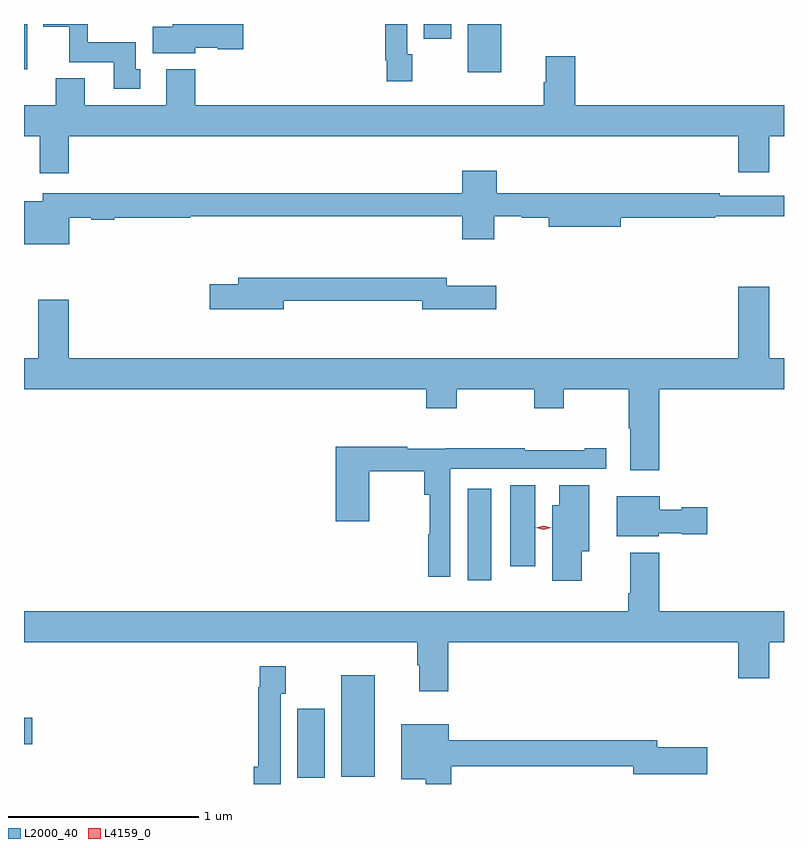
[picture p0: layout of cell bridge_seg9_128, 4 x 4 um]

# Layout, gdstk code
import gdstk
lib = gdstk.Library(unit=1e-6, precision=1e-09)
def R(c, l, rs):  # rectangles x0, y0, x1, y1
    for r in rs: c.add(gdstk.rectangle(r[:2], r[2:], *l))
def P(c, l, *ps):  # polygons
    for p in ps: c.add(gdstk.Polygon(p, *l))
L2000_40 = (2000, 40)
L4159_0 = (4159, 0)

bridge_seg9_128 = lib.new_cell('bridge_seg9_128')
R(bridge_seg9_128, L2000_40, [(450.401,1237,450.544,1237.363), (450.632,1237.004,450.808,1237.54), (448.962,1237.175,449.005,1237.317), (451.298,1238.04,451.42,1238.521), (451.52,1238.112,451.654,1238.54), (451.298,1240.712,451.474,1240.967), (448.962,1240.728,448.978,1240.967), (451.067,1240.89,451.21,1240.967)])
P(bridge_seg9_128, L2000_40, [(449.575,1240.728),(449.551,1240.728),(449.551,1240.87),(449.298,1240.87),(449.298,1240.967),(449.063,1240.967),(449.063,1240.952),(449.2,1240.952),(449.2,1240.766),(449.435,1240.766),(449.435,1240.626),(449.575,1240.626)],
  [(449.862,1240.841),(449.982,1240.841),(449.982,1240.834),(450.115,1240.834),(450.115,1240.967),(449.744,1240.967),(449.744,1240.952),(449.639,1240.952),(449.639,1240.814),(449.862,1240.814)],
  [(451.005,1240.809),(450.978,1240.809),(450.978,1240.967),(450.862,1240.967),(450.862,1240.777),(450.87,1240.777),(450.87,1240.665),(451.005,1240.665)],
  [(449.198,1240.376),(452.72,1240.376),(452.72,1240.188),(452.884,1240.188),(452.884,1240.376),(452.962,1240.376),(452.962,1240.54),(451.862,1240.54),(451.862,1240.798),(451.709,1240.798),(451.709,1240.661),(451.697,1240.661),(451.697,1240.54),(449.864,1240.54),(449.864,1240.729),(449.711,1240.729),(449.711,1240.54),(449.281,1240.54),(449.281,1240.681),(449.129,1240.681),(449.129,1240.54),(448.962,1240.54),(448.962,1240.376),(449.045,1240.376),(449.045,1240.182),(449.198,1240.182)],
  [(449.2,1239.946),(449.316,1239.946),(449.316,1239.938),(449.436,1239.938),(449.436,1239.946),(449.836,1239.946),(449.836,1239.954),(451.268,1239.954),(451.268,1239.834),(451.438,1239.834),(451.438,1239.954),(451.581,1239.954),(451.581,1239.946),(451.724,1239.946),(451.724,1239.899),(452.104,1239.899),(452.104,1239.946),(452.6,1239.946),(452.6,1239.954),(452.962,1239.954),(452.962,1240.062),(452.624,1240.062),(452.624,1240.075),(451.451,1240.075),(451.451,1240.195),(451.268,1240.195),(451.268,1240.075),(449.06,1240.075),(449.06,1240.033),(448.962,1240.033),(448.962,1239.809),(449.2,1239.809)],
  [(450.328,1239.51),(451.058,1239.51),(451.058,1239.467),(451.447,1239.467),(451.447,1239.589),(451.186,1239.589),(451.186,1239.631),(450.089,1239.631),(450.089,1239.597),(449.94,1239.597),(449.94,1239.467),(450.328,1239.467)],
  [(452.306,1239.044),(452.962,1239.044),(452.962,1239.208),(452.884,1239.208),(452.884,1239.583),(452.72,1239.583),(452.72,1239.208),(449.198,1239.208),(449.198,1239.517),(449.038,1239.517),(449.038,1239.208),(448.962,1239.208),(448.962,1239.044),(451.079,1239.044),(451.079,1238.945),(451.239,1238.945),(451.239,1239.044),(451.648,1239.044),(451.648,1238.945),(451.803,1238.945),(451.803,1239.044),(452.146,1239.044),(452.146,1238.84),(452.153,1238.84),(452.153,1238.619),(452.306,1238.619)],
  [(451.206,1238.625),(452.026,1238.625),(452.026,1238.734),(451.913,1238.734),(451.913,1238.724),(451.598,1238.724),(451.598,1238.734),(451.182,1238.734),(451.182,1238.732),(450.98,1238.732),(450.98,1238.743),(450.602,1238.743),(450.602,1238.349),(450.78,1238.349),(450.78,1238.614),(451.069,1238.614),(451.069,1238.489),(451.098,1238.489),(451.098,1238.282),(451.09,1238.282),(451.09,1238.058),(451.206,1238.058)],
  [(451.897,1238.192),(451.936,1238.192),(451.936,1238.54),(451.778,1238.54),(451.778,1238.434),(451.742,1238.434),(451.742,1238.037),(451.897,1238.037)],
  [(452.304,1238.288),(452.424,1238.288),(452.424,1238.281),(452.557,1238.281),(452.557,1238.423),(452.424,1238.423),(452.424,1238.41),(452.308,1238.41),(452.308,1238.482),(452.081,1238.482),(452.081,1238.27),(452.304,1238.27)],
  [(451.196,1237.712),(452.72,1237.712),(452.72,1237.524),(452.884,1237.524),(452.884,1237.712),(452.962,1237.712),(452.962,1237.876),(452.306,1237.876),(452.306,1238.185),(452.153,1238.185),(452.153,1237.972),(452.141,1237.972),(452.141,1237.876),(448.962,1237.876),(448.962,1237.712),(451.031,1237.712),(451.031,1237.592),(451.043,1237.592),(451.043,1237.455),(451.196,1237.455)],
  [(450.312,1237.443),(450.339,1237.443),(450.339,1237.588),(450.204,1237.588),(450.204,1237.475),(450.196,1237.475),(450.196,1237.057),(450.17,1237.057),(450.17,1236.967),(450.312,1236.967)],
  [(451.211,1237.06),(452.168,1237.06),(452.168,1237.018),(452.557,1237.018),(452.557,1237.16),(452.296,1237.16),(452.296,1237.196),(451.198,1237.196),(451.198,1237.282),(450.947,1237.282),(450.947,1236.992),(451.076,1236.992),(451.076,1236.967),(451.211,1236.967)])
P(bridge_seg9_128, L4159_0, [(451.697,1238.306),(451.656,1238.316),(451.656,1238.316),(451.656,1238.316),(451.697,1238.326),(451.738,1238.316),(451.738,1238.316),(451.738,1238.316)])

lib.write_gds('bridge_seg9_128.gds')
